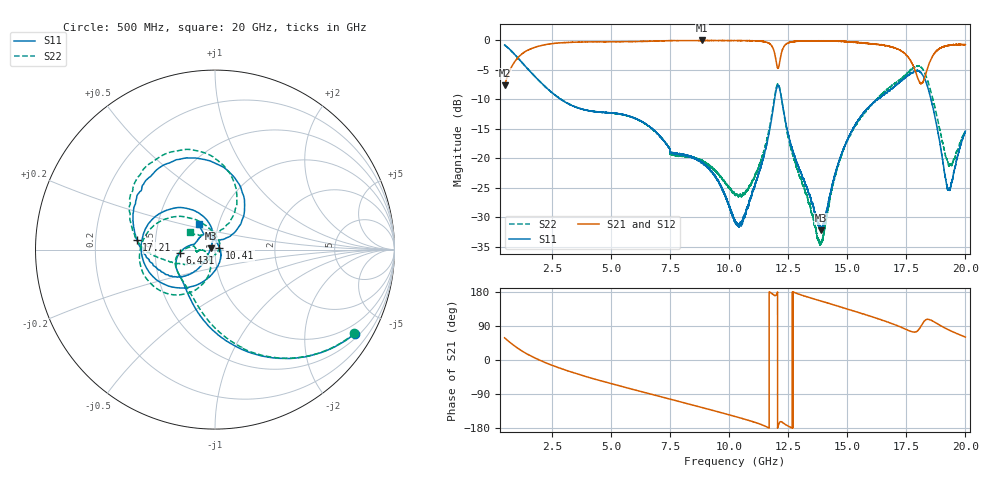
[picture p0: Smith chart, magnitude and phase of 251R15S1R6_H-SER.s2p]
!{251R15S1R6}
!Johanson Technology Inc.
!www.johansontechnology.com
!Test Board Conditions:
!Substrate Type  RO4350B
!Substrate Thickness  20 mil
!Substrate Dk  3.66
!TL Type: GCPW
!TL Trace Width  34 mil
!TL Gap  10 mil
!Electrode orientation  Horizontal
!DUT TOPOLOGY	SERIES
!Mounting Pad LxW  26x52 mil
! Created Thu Mar 12 16:36:02 2020
# mhz S ma R 50
! 2 Port Network Data from SP1.SP block
! freq  magS11  angS11  magS21  angS21  magS12  angS12  magS22  angS22
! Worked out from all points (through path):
!   19501 points, 500 MHz to 20 GHz, reference 50 ohm
!   highest |S21| = -0.07 dB at 8.836 GHz (marker M1); lowest = -7.7 dB at 500 MHz (marker M2)
!   group delay of S21, straight-line fit = 46.5 ps
!   lowest |S11| = -32.2 dB at 13.9 GHz (marker M3), VSWR 1.05, Z = 47.7 + j0.678 ohm
!   |S11| at or under -10 dB: 2.861 GHz to 11.93 GHz (9.065 GHz wide, 123 % of centre); 12.22 GHz to 16.31 GHz (4.082 GHz wide, 28.6 % of centre); 18.54 GHz to end of sweep (the widest 3 of 4)
!   |S22| runs from -34.9 to -0.9 dB; largest |S21 - S12| = 0.019
!   S11 on the Smith chart (normalised r, x): 500 MHz: 0.65, -3.48; 6.431 GHz: 0.67, -0.02; 10.41 GHz: 1.05, +0.02; 17.21 GHz: 0.39, +0.05; 20 GHz: 0.81, +0.24
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500  0.9078 -31.1  0.4134 58.6  0.4143 58.6  0.9057 -31.0
1841  0.4776 -87.7  0.8757 3.7  0.8773 3.6  0.4771 -84.9
3750  0.2604 -131.5  0.9611 -40.1  0.9611 -40.1  0.2605 -127.8
6431  0.1966 -175.0  0.9724 -85.8  0.9756 -85.8  0.1949 -175.4
7000  0.1589 174.5  0.9816 -95.0  0.9821 -95.1  0.1584 176.9
8836  0.09098 110.4  0.9916 -125.2  0.9897 -125.2  0.09524 -175.4
10250  0.0293 44.7  0.9892 -149.0  0.9891 -149.0  0.04913 -157.3
10409  0.0259 20.7  0.9881 -151.8  0.9886 -151.8  0.04758 -149.3
11622  0.1388 -97.2  0.9522 -177.4  0.952 -177.5  0.1505 -104.4
11906  0.296 -134.0  0.7999 171.0  0.8024 171.0  0.3117 -126.5
12067  0.4118 177.9  0.5753 -176.7  0.5764 -177.1  0.4254 -169.2
12289  0.263 121.2  0.8563 -166.0  0.8561 -166.3  0.2607 134.9
13500  0.04119 111.7  0.9847 162.8  0.9831 162.9  0.03375 40.4
13896  0.02446 163.1  0.9844 155.4  0.9825 155.4  0.01893 -40.9
15004  0.1417 -131.4  0.9682 134.4  0.971 134.5  0.14 -145.3
16750  0.372 -170.4  0.8894 99.4  0.8799 98.8  0.3921 -179.4
17211  0.439 173.0  0.822 88.3  0.8182 88.0  0.4569 169.1
17788  0.5344 139.8  0.6079 73.9  0.5977 74.4  0.582 140.1
18266  0.4723 87.4  0.4751 103.0  0.4729 103.6  0.534 94.3
18615  0.2739 53.2  0.7309 102.8  0.7338 103.0  0.3203 67.6
19285  0.05483 81.2  0.8995 79.6  0.9007 80.1  0.08747 93.0
20000  0.169 121.2  0.9134 60.4  0.9117 60.5  0.1707 145.3
